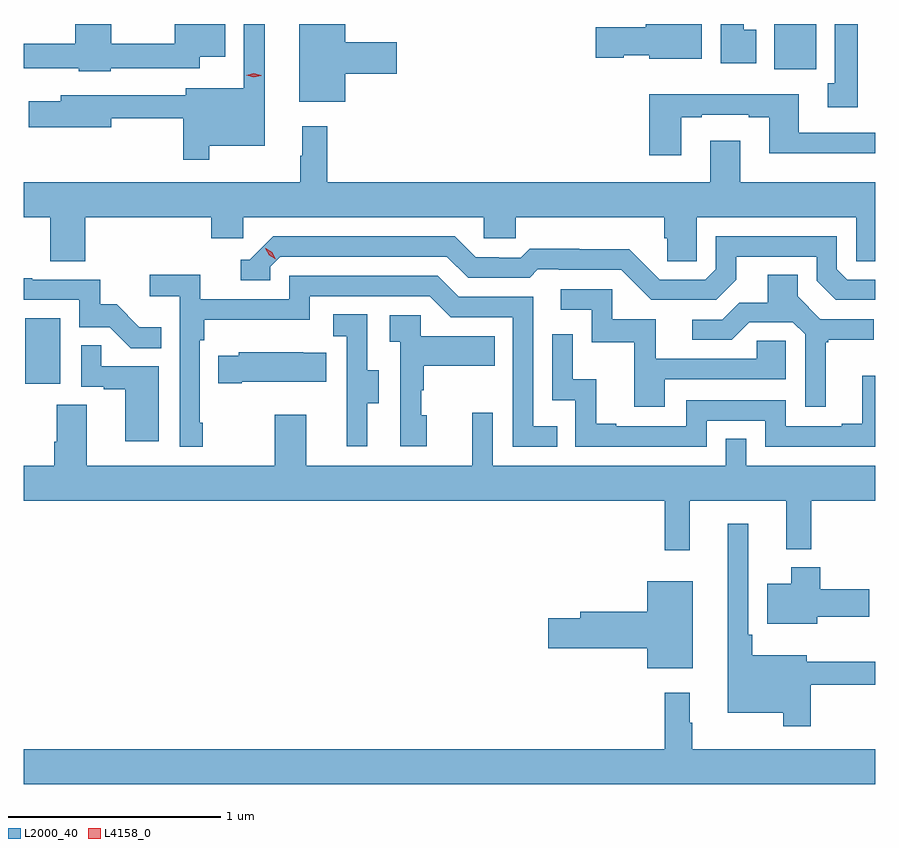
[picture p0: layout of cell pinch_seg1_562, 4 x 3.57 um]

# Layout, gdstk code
import gdstk
lib = gdstk.Library(unit=1e-6, precision=1e-09)
def R(c, l, rs):  # rectangles x0, y0, x1, y1
    for r in rs: c.add(gdstk.rectangle(r[:2], r[2:], *l))
def P(c, l, *ps):  # polygons
    for p in ps: c.add(gdstk.Polygon(p, *l))
L2000_40 = (2000, 40)
L4158_0 = (4158, 0)

pinch_seg1_562 = lib.new_cell('pinch_seg1_562')
R(pinch_seg1_562, L2000_40, [(1055.54,513.654,1055.704,513.961), (1059.059,515.132,1059.256,515.344)])
P(pinch_seg1_562, L2000_40, [(1055.94,515.136),(1056.358,515.136),(1056.358,515.189),(1056.478,515.189),(1056.478,515.344),(1056.242,515.344),(1056.242,515.252),(1055.944,515.252),(1055.944,515.344),(1055.774,515.344),(1055.774,515.252),(1055.533,515.252),(1055.533,515.136),(1055.79,515.136),(1055.79,515.123),(1055.94,515.123)],
  [(1057.042,515.111),(1057.285,515.111),(1057.285,515.258),(1057.042,515.258),(1057.042,515.344),(1056.827,515.344),(1056.827,514.979),(1057.042,514.979)],
  [(1058.719,515.344),(1058.456,515.344),(1058.456,515.328),(1058.22,515.328),(1058.22,515.186),(1058.352,515.186),(1058.352,515.198),(1058.472,515.198),(1058.472,515.18),(1058.719,515.18)],
  [(1056.403,514.772),(1056.664,514.772),(1056.664,515.344),(1056.567,515.344),(1056.567,515.041),(1056.293,515.041),(1056.293,515.01),(1055.705,515.01),(1055.705,514.981),(1055.556,514.981),(1055.556,514.859),(1055.944,514.859),(1055.944,514.902),(1056.282,514.902),(1056.282,514.707),(1056.403,514.707)],
  [(1058.974,515.316),(1058.917,515.316),(1058.917,515.344),(1058.807,515.344),(1058.807,515.16),(1058.974,515.16)],
  [(1059.451,515.344),(1059.344,515.344),(1059.344,515.066),(1059.311,515.066),(1059.311,514.953),(1059.451,514.953)],
  [(1058.623,514.905),(1058.719,514.905),(1058.719,514.917),(1058.939,514.917),(1058.939,514.905),(1059.035,514.905),(1059.035,514.736),(1059.533,514.736),(1059.533,514.833),(1059.175,514.833),(1059.175,515.014),(1058.471,515.014),(1058.471,514.728),(1058.623,514.728)],
  [(1055.822,514.436),(1056.413,514.436),(1056.413,514.338),(1056.564,514.338),(1056.564,514.436),(1057.695,514.436),(1057.695,514.338),(1057.845,514.338),(1057.845,514.436),(1058.543,514.436),(1058.543,514.338),(1058.557,514.338),(1058.557,514.228),(1058.694,514.228),(1058.694,514.436),(1059.444,514.436),(1059.444,514.228),(1059.533,514.228),(1059.533,514.6),(1058.899,514.6),(1058.899,514.795),(1058.759,514.795),(1058.759,514.6),(1056.959,514.6),(1056.959,514.864),(1056.842,514.864),(1056.842,514.724),(1056.831,514.724),(1056.831,514.6),(1055.533,514.6),(1055.533,514.436),(1055.657,514.436),(1055.657,514.228),(1055.822,514.228)],
  [(1058.881,514.141),(1058.881,514.251),(1059.258,514.251),(1059.258,514.137),(1059.348,514.047),(1059.533,514.047),(1059.533,514.143),(1059.402,514.143),(1059.354,514.191),(1059.354,514.347),(1058.784,514.347),(1058.784,514.191),(1058.736,514.143),(1058.52,514.143),(1058.378,514.285),(1058.142,514.285),(1058.142,514.288),(1057.909,514.288),(1057.867,514.245),(1057.764,514.245),(1057.764,514.248),(1057.657,514.248),(1057.558,514.347),(1056.705,514.347),(1056.594,514.236),(1056.551,514.236),(1056.551,514.14),(1056.69,514.14),(1056.69,514.203),(1056.738,514.251),(1057.521,514.251),(1057.62,514.152),(1057.909,514.152),(1057.948,514.191),(1058.047,514.191),(1058.047,514.188),(1058.34,514.188),(1058.481,514.047),(1058.787,514.047)],
  [(1059.301,513.849),(1059.313,513.849),(1059.313,513.86),(1059.526,513.86),(1059.526,513.957),(1059.276,513.957),(1059.169,514.064),(1059.169,514.166),(1059.029,514.166),(1059.029,514.034),(1058.894,514.034),(1058.814,513.954),(1058.673,513.954),(1058.673,513.861),(1058.86,513.861),(1058.941,513.942),(1059.147,513.942),(1059.204,513.885),(1059.204,513.546),(1059.301,513.546)],
  [(1056.373,513.469),(1056.36,513.469),(1056.36,513.857),(1056.38,513.857),(1056.38,513.953),(1056.876,513.953),(1056.876,514.065),(1057.44,514.065),(1057.539,513.966),(1057.83,513.966),(1057.83,513.357),(1058.039,513.357),(1058.039,513.453),(1057.926,513.453),(1057.926,514.062),(1057.576,514.062),(1057.477,514.161),(1056.78,514.161),(1056.78,514.05),(1056.362,514.05),(1056.362,514.166),(1056.123,514.166),(1056.123,514.064),(1056.264,514.064),(1056.264,513.357),(1056.373,513.357)],
  [(1056.179,513.919),(1056.075,513.919),(1055.968,514.026),(1055.892,514.026),(1055.892,514.143),(1055.573,514.143),(1055.573,514.148),(1055.533,514.148),(1055.533,514.047),(1055.793,514.047),(1055.793,513.918),(1055.937,513.918),(1056.035,513.82),(1056.179,513.82)],
  [(1058.545,513.675),(1059.114,513.675),(1059.114,513.855),(1058.977,513.855),(1058.977,513.771),(1058.503,513.771),(1058.503,513.957),(1058.298,513.957),(1058.298,514.098),(1058.055,514.098),(1058.055,514.002),(1058.202,514.002),(1058.202,513.849),(1058.401,513.849),(1058.401,513.546),(1058.545,513.546)],
  [(1057.147,513.562),(1057.201,513.562),(1057.201,513.717),(1057.146,513.717),(1057.146,513.98),(1056.987,513.98),(1056.987,513.877),(1057.05,513.877),(1057.05,513.573),(1057.049,513.573),(1057.049,513.36),(1057.147,513.36)],
  [(1057.426,513.504),(1057.401,513.504),(1057.401,513.623),(1057.411,513.623),(1057.411,513.737),(1057.745,513.737),(1057.745,513.877),(1057.398,513.877),(1057.398,513.975),(1057.251,513.975),(1057.251,513.851),(1057.302,513.851),(1057.302,513.36),(1057.426,513.36)],
  [(1058.742,513.48),(1059.018,513.48),(1059.018,513.357),(1059.533,513.357),(1059.533,513.691),(1059.473,513.691),(1059.473,513.466),(1059.377,513.466),(1059.377,513.453),(1059.114,513.453),(1059.114,513.576),(1058.646,513.576),(1058.646,513.453),(1058.317,513.453),(1058.317,513.466),(1058.222,513.466),(1058.222,513.674),(1058.112,513.674),(1058.112,513.886),(1058.016,513.886),(1058.016,513.576),(1058.124,513.576),(1058.124,513.357),(1058.742,513.357)],
  [(1056.166,513.735),(1055.897,513.735),(1055.897,513.833),(1055.802,513.833),(1055.802,513.639),(1055.909,513.639),(1055.909,513.627),(1056.008,513.627),(1056.008,513.384),(1056.166,513.384)],
  [(1056.556,513.662),(1056.953,513.662),(1056.953,513.799),(1056.845,513.799),(1056.845,513.802),(1056.543,513.802),(1056.543,513.784),(1056.445,513.784),(1056.445,513.655),(1056.556,513.655)],
  [(1058.663,513.104),(1059.116,513.104),(1059.116,512.876),(1059.233,512.876),(1059.233,513.104),(1059.533,513.104),(1059.533,513.268),(1058.928,513.268),(1058.928,513.395),(1058.832,513.395),(1058.832,513.268),(1057.737,513.268),(1057.737,513.517),(1057.64,513.517),(1057.64,513.268),(1056.859,513.268),(1056.859,513.508),(1056.712,513.508),(1056.712,513.268),(1055.827,513.268),(1055.827,513.554),(1055.687,513.554),(1055.687,513.38),(1055.675,513.38),(1055.675,513.268),(1055.533,513.268),(1055.533,513.104),(1058.545,513.104),(1058.545,512.871),(1058.663,512.871)],
  [(1059.23,512.238),(1059.533,512.238),(1059.533,512.347),(1059.211,512.347),(1059.211,512.377),(1058.957,512.377),(1058.957,512.473),(1058.937,512.473),(1058.937,512.995),(1058.84,512.995),(1058.84,512.108),(1059.102,512.108),(1059.102,512.043),(1059.23,512.043)],
  [(1059.262,512.558),(1059.505,512.558),(1059.505,512.688),(1059.275,512.688),(1059.275,512.791),(1059.14,512.791),(1059.14,512.713),(1059.026,512.713),(1059.026,512.525),(1059.262,512.525)],
  [(1058.677,512.725),(1058.462,512.725),(1058.462,512.582),(1058.147,512.582),(1058.147,512.552),(1057.998,512.552),(1057.998,512.41),(1058.462,512.41),(1058.462,512.315),(1058.677,512.315)],
  [(1059.533,511.936),(1058.674,511.936),(1058.674,512.06),(1058.662,512.06),(1058.662,512.2),(1058.545,512.2),(1058.545,511.936),(1055.533,511.936),(1055.533,511.772),(1059.533,511.772)])
P(pinch_seg1_562, L4158_0, [(1056.716,514.238),(1056.685,514.258),(1056.668,514.29),(1056.668,514.291),(1056.669,514.291),(1056.7,514.271),(1056.716,514.238),(1056.716,514.238)],
  [(1056.612,515.093),(1056.577,515.104),(1056.577,515.104),(1056.577,515.104),(1056.613,515.113),(1056.648,515.102),(1056.648,515.102),(1056.648,515.101)])

lib.write_gds('pinch_seg1_562.gds')
